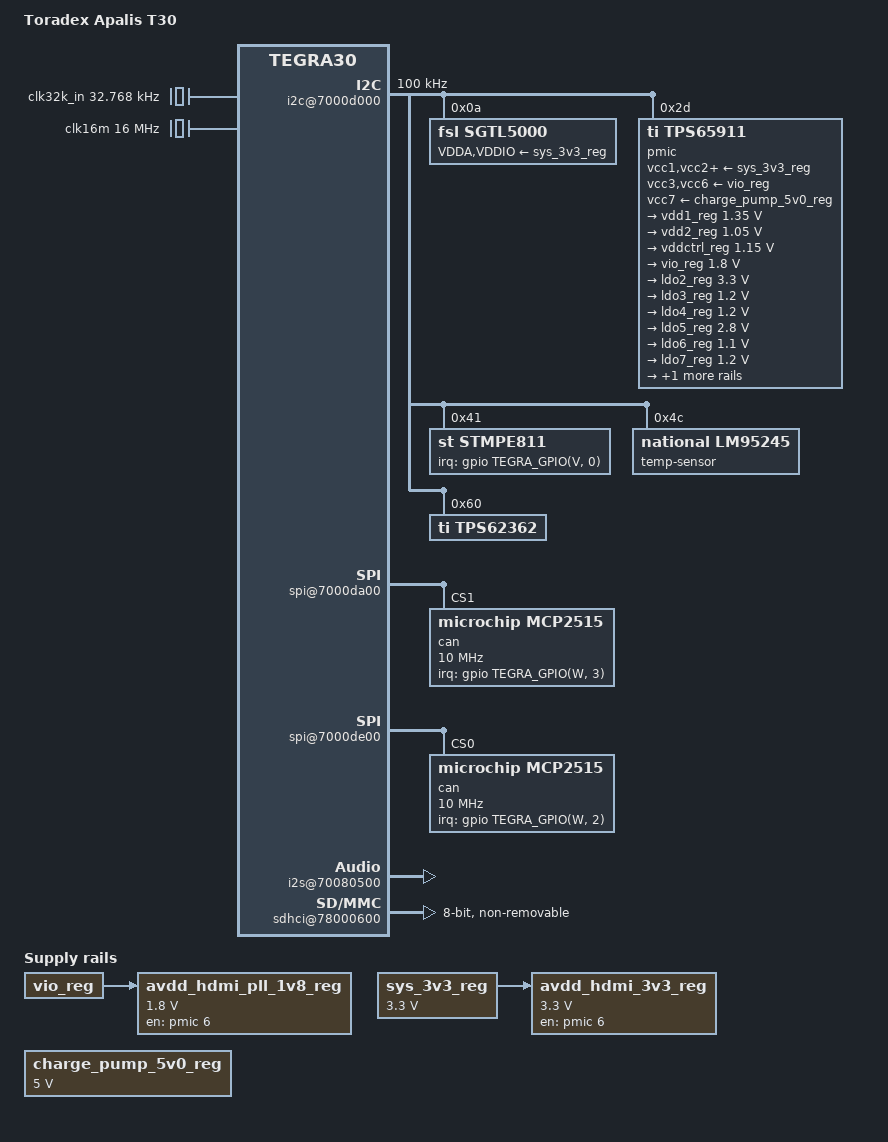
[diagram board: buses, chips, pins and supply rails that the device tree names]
// SPDX-License-Identifier: GPL-2.0
#include "tegra30.dtsi"

/*
 * Toradex Apalis T30 Module Device Tree
 * Compatible for Revisions 1GB: V1.0A, V1.1A; 1GB IT: V1.1A;
 * 2GB: V1.0B, V1.0C, V1.0E, V1.1A
 */
/ {
	model = "Toradex Apalis T30";
	compatible = "toradex,apalis_t30", "nvidia,tegra30";

	pcie@3000 {
		avdd-pexa-supply = <&vdd2_reg>;
		vdd-pexa-supply = <&vdd2_reg>;
		avdd-pexb-supply = <&vdd2_reg>;
		vdd-pexb-supply = <&vdd2_reg>;
		avdd-pex-pll-supply = <&vdd2_reg>;
		avdd-plle-supply = <&ldo6_reg>;
		vddio-pex-ctl-supply = <&sys_3v3_reg>;
		hvdd-pex-supply = <&sys_3v3_reg>;

		pci@1,0 {
			nvidia,num-lanes = <4>;
		};

		pci@2,0 {
			nvidia,num-lanes = <1>;
		};

		pci@3,0 {
			nvidia,num-lanes = <1>;
		};
	};

	host1x@50000000 {
		hdmi@54280000 {
			vdd-supply = <&avdd_hdmi_3v3_reg>;
			pll-supply = <&avdd_hdmi_pll_1v8_reg>;

			nvidia,hpd-gpio =
				<&gpio TEGRA_GPIO(N, 7) GPIO_ACTIVE_HIGH>;
			nvidia,ddc-i2c-bus = <&hdmiddc>;
		};
	};

	pinmux@70000868 {
		pinctrl-names = "default";
		pinctrl-0 = <&state_default>;

		state_default: pinmux {
			/* Analogue Audio (On-module) */
			clk1_out_pw4 {
				nvidia,pins = "clk1_out_pw4";
				nvidia,function = "extperiph1";
				nvidia,pull = <TEGRA_PIN_PULL_NONE>;
				nvidia,tristate = <TEGRA_PIN_DISABLE>;
				nvidia,enable-input = <TEGRA_PIN_DISABLE>;
			};
			dap3_fs_pp0 {
				nvidia,pins =	"dap3_fs_pp0",
						"dap3_sclk_pp3",
						"dap3_din_pp1",
						"dap3_dout_pp2";
				nvidia,function = "i2s2";
				nvidia,pull = <TEGRA_PIN_PULL_NONE>;
				nvidia,tristate = <TEGRA_PIN_DISABLE>;
			};

			/* Apalis BKL1_ON */
			pv2 {
				nvidia,pins = "pv2";
				nvidia,function = "rsvd4";
				nvidia,pull = <TEGRA_PIN_PULL_NONE>;
				nvidia,tristate = <TEGRA_PIN_DISABLE>;
			};

			/* Apalis BKL1_PWM */
			uart3_rts_n_pc0 {
				nvidia,pins = "uart3_rts_n_pc0";
				nvidia,function = "pwm0";
				nvidia,pull = <TEGRA_PIN_PULL_NONE>;
				nvidia,tristate = <TEGRA_PIN_DISABLE>;
			};
			/* BKL1_PWM_EN#, disable TPS65911 PMIC PWM backlight */
			uart3_cts_n_pa1 {
				nvidia,pins = "uart3_cts_n_pa1";
				nvidia,function = "rsvd2";
				nvidia,pull = <TEGRA_PIN_PULL_UP>;
				nvidia,tristate = <TEGRA_PIN_DISABLE>;
			};

			/* Apalis CAN1 on SPI6 */
			spi2_cs0_n_px3 {
				nvidia,pins = "spi2_cs0_n_px3",
					      "spi2_miso_px1",
					      "spi2_mosi_px0",
					      "spi2_sck_px2";
				nvidia,function = "spi6";
				nvidia,pull = <TEGRA_PIN_PULL_NONE>;
				nvidia,tristate = <TEGRA_PIN_DISABLE>;
			};
			/* CAN_INT1 */
			spi2_cs1_n_pw2 {
				nvidia,pins = "spi2_cs1_n_pw2";
				nvidia,function = "spi3";
				nvidia,pull = <TEGRA_PIN_PULL_NONE>;
				nvidia,tristate = <TEGRA_PIN_DISABLE>;
				nvidia,enable-input = <TEGRA_PIN_ENABLE>;
			};

			/* Apalis CAN2 on SPI4 */
			gmi_a16_pj7 {
				nvidia,pins = "gmi_a16_pj7",
					      "gmi_a17_pb0",
					      "gmi_a18_pb1",
					      "gmi_a19_pk7";
				nvidia,function = "spi4";
				nvidia,pull = <TEGRA_PIN_PULL_NONE>;
				nvidia,tristate = <TEGRA_PIN_DISABLE>;
			};
			/* CAN_INT2 */
			spi2_cs2_n_pw3 {
				nvidia,pins = "spi2_cs2_n_pw3";
				nvidia,function = "spi3";
				nvidia,pull = <TEGRA_PIN_PULL_NONE>;
				nvidia,tristate = <TEGRA_PIN_DISABLE>;
				nvidia,enable-input = <TEGRA_PIN_ENABLE>;
			};

			/* Apalis Digital Audio */
			clk1_req_pee2 {
				nvidia,pins = "clk1_req_pee2";
				nvidia,function = "hda";
				nvidia,pull = <TEGRA_PIN_PULL_NONE>;
				nvidia,tristate = <TEGRA_PIN_DISABLE>;
			};
			clk2_out_pw5 {
				nvidia,pins = "clk2_out_pw5";
				nvidia,function = "extperiph2";
				nvidia,pull = <TEGRA_PIN_PULL_NONE>;
				nvidia,tristate = <TEGRA_PIN_DISABLE>;
				nvidia,enable-input = <TEGRA_PIN_DISABLE>;
			};
			dap1_fs_pn0 {
				nvidia,pins = "dap1_fs_pn0",
					      "dap1_din_pn1",
					      "dap1_dout_pn2",
					      "dap1_sclk_pn3";
				nvidia,function = "hda";
				nvidia,pull = <TEGRA_PIN_PULL_NONE>;
				nvidia,tristate = <TEGRA_PIN_DISABLE>;
			};

			/* Apalis I2C3 */
			cam_i2c_scl_pbb1 {
				nvidia,pins = "cam_i2c_scl_pbb1",
					      "cam_i2c_sda_pbb2";
				nvidia,function = "i2c3";
				nvidia,pull = <TEGRA_PIN_PULL_NONE>;
				nvidia,tristate = <TEGRA_PIN_DISABLE>;
				nvidia,enable-input = <TEGRA_PIN_ENABLE>;
				nvidia,lock = <TEGRA_PIN_DISABLE>;
				nvidia,open-drain = <TEGRA_PIN_ENABLE>;
			};

			/* Apalis MMC1 */
			sdmmc3_clk_pa6 {
				nvidia,pins = "sdmmc3_clk_pa6",
					      "sdmmc3_cmd_pa7";
				nvidia,function = "sdmmc3";
				nvidia,pull = <TEGRA_PIN_PULL_NONE>;
				nvidia,tristate = <TEGRA_PIN_DISABLE>;
			};
			sdmmc3_dat0_pb7 {
				nvidia,pins = "sdmmc3_dat0_pb7",
					      "sdmmc3_dat1_pb6",
					      "sdmmc3_dat2_pb5",
					      "sdmmc3_dat3_pb4",
					      "sdmmc3_dat4_pd1",
					      "sdmmc3_dat5_pd0",
					      "sdmmc3_dat6_pd3",
					      "sdmmc3_dat7_pd4";
				nvidia,function = "sdmmc3";
				nvidia,pull = <TEGRA_PIN_PULL_UP>;
				nvidia,tristate = <TEGRA_PIN_DISABLE>;
			};
			/* Apalis MMC1_CD# */
			pv3 {
				nvidia,pins = "pv3";
				nvidia,function = "rsvd2";
				nvidia,pull = <TEGRA_PIN_PULL_NONE>;
				nvidia,tristate = <TEGRA_PIN_DISABLE>;
				nvidia,enable-input = <TEGRA_PIN_ENABLE>;
			};

			/* Apalis PWM1 */
			pu6 {
				nvidia,pins = "pu6";
				nvidia,function = "pwm3";
				nvidia,pull = <TEGRA_PIN_PULL_NONE>;
				nvidia,tristate = <TEGRA_PIN_DISABLE>;
			};

			/* Apalis PWM2 */
			pu5 {
				nvidia,pins = "pu5";
				nvidia,function = "pwm2";
				nvidia,pull = <TEGRA_PIN_PULL_NONE>;
				nvidia,tristate = <TEGRA_PIN_DISABLE>;
			};

			/* Apalis PWM3 */
			pu4 {
				nvidia,pins = "pu4";
				nvidia,function = "pwm1";
				nvidia,pull = <TEGRA_PIN_PULL_NONE>;
				nvidia,tristate = <TEGRA_PIN_DISABLE>;
			};

			/* Apalis PWM4 */
			pu3 {
				nvidia,pins = "pu3";
				nvidia,function = "pwm0";
				nvidia,pull = <TEGRA_PIN_PULL_NONE>;
				nvidia,tristate = <TEGRA_PIN_DISABLE>;
			};

			/* Apalis RESET_MOCI# */
			gmi_rst_n_pi4 {
				nvidia,pins = "gmi_rst_n_pi4";
				nvidia,function = "gmi";
				nvidia,pull = <TEGRA_PIN_PULL_NONE>;
				nvidia,tristate = <TEGRA_PIN_DISABLE>;
			};

			/* Apalis SD1 */
			sdmmc1_clk_pz0 {
				nvidia,pins = "sdmmc1_clk_pz0";
				nvidia,function = "sdmmc1";
				nvidia,pull = <TEGRA_PIN_PULL_NONE>;
				nvidia,tristate = <TEGRA_PIN_DISABLE>;
			};
			sdmmc1_cmd_pz1 {
				nvidia,pins = "sdmmc1_cmd_pz1",
					      "sdmmc1_dat0_py7",
					      "sdmmc1_dat1_py6",
					      "sdmmc1_dat2_py5",
					      "sdmmc1_dat3_py4";
				nvidia,function = "sdmmc1";
				nvidia,pull = <TEGRA_PIN_PULL_UP>;
				nvidia,tristate = <TEGRA_PIN_DISABLE>;
			};
			/* Apalis SD1_CD# */
			clk2_req_pcc5 {
				nvidia,pins = "clk2_req_pcc5";
				nvidia,function = "rsvd2";
				nvidia,pull = <TEGRA_PIN_PULL_NONE>;
				nvidia,tristate = <TEGRA_PIN_DISABLE>;
				nvidia,enable-input = <TEGRA_PIN_ENABLE>;
			};

			/* Apalis SPI1 */
			spi1_sck_px5 {
				nvidia,pins = "spi1_sck_px5",
					      "spi1_mosi_px4",
					      "spi1_miso_px7",
					      "spi1_cs0_n_px6";
				nvidia,function = "spi1";
				nvidia,pull = <TEGRA_PIN_PULL_NONE>;
				nvidia,tristate = <TEGRA_PIN_DISABLE>;
			};

			/* Apalis SPI2 */
			lcd_sck_pz4 {
				nvidia,pins = "lcd_sck_pz4",
					      "lcd_sdout_pn5",
					      "lcd_sdin_pz2",
					      "lcd_cs0_n_pn4";
				nvidia,function = "spi5";
				nvidia,pull = <TEGRA_PIN_PULL_NONE>;
				nvidia,tristate = <TEGRA_PIN_DISABLE>;
			};

			/* Apalis UART1 */
			ulpi_data0 {
				nvidia,pins = "ulpi_data0_po1",
					      "ulpi_data1_po2",
					      "ulpi_data2_po3",
					      "ulpi_data3_po4",
					      "ulpi_data4_po5",
					      "ulpi_data5_po6",
					      "ulpi_data6_po7",
					      "ulpi_data7_po0";
				nvidia,function = "uarta";
				nvidia,pull = <TEGRA_PIN_PULL_NONE>;
				nvidia,tristate = <TEGRA_PIN_DISABLE>;
			};

			/* Apalis UART2 */
			ulpi_clk_py0 {
				nvidia,pins = "ulpi_clk_py0",
					      "ulpi_dir_py1",
					      "ulpi_nxt_py2",
					      "ulpi_stp_py3";
				nvidia,function = "uartd";
				nvidia,pull = <TEGRA_PIN_PULL_NONE>;
				nvidia,tristate = <TEGRA_PIN_DISABLE>;
			};

			/* Apalis UART3 */
			uart2_rxd_pc3 {
				nvidia,pins = "uart2_rxd_pc3",
					      "uart2_txd_pc2";
				nvidia,function = "uartb";
				nvidia,pull = <TEGRA_PIN_PULL_NONE>;
				nvidia,tristate = <TEGRA_PIN_DISABLE>;
			};

			/* Apalis UART4 */
			uart3_rxd_pw7 {
				nvidia,pins = "uart3_rxd_pw7",
					      "uart3_txd_pw6";
				nvidia,function = "uartc";
				nvidia,pull = <TEGRA_PIN_PULL_NONE>;
				nvidia,tristate = <TEGRA_PIN_DISABLE>;
			};

			/* Apalis USBO1_EN */
			gen2_i2c_scl_pt5 {
				nvidia,pins = "gen2_i2c_scl_pt5";
				nvidia,function = "rsvd4";
				nvidia,open-drain = <TEGRA_PIN_DISABLE>;
				nvidia,pull = <TEGRA_PIN_PULL_NONE>;
				nvidia,tristate = <TEGRA_PIN_DISABLE>;
			};

			/* Apalis USBO1_OC# */
			gen2_i2c_sda_pt6 {
				nvidia,pins = "gen2_i2c_sda_pt6";
				nvidia,function = "rsvd4";
				nvidia,open-drain = <TEGRA_PIN_DISABLE>;
				nvidia,pull = <TEGRA_PIN_PULL_NONE>;
				nvidia,tristate = <TEGRA_PIN_DISABLE>;
				nvidia,enable-input = <TEGRA_PIN_ENABLE>;
			};

			/* Apalis WAKE1_MICO */
			pv1 {
				nvidia,pins = "pv1";
				nvidia,function = "rsvd1";
				nvidia,pull = <TEGRA_PIN_PULL_NONE>;
				nvidia,tristate = <TEGRA_PIN_DISABLE>;
				nvidia,enable-input = <TEGRA_PIN_ENABLE>;
			};

			/* eMMC (On-module) */
			sdmmc4_clk_pcc4 {
				nvidia,pins = "sdmmc4_clk_pcc4",
					      "sdmmc4_rst_n_pcc3";
				nvidia,function = "sdmmc4";
				nvidia,pull = <TEGRA_PIN_PULL_NONE>;
				nvidia,tristate = <TEGRA_PIN_DISABLE>;
			};
			sdmmc4_dat0_paa0 {
				nvidia,pins = "sdmmc4_dat0_paa0",
					      "sdmmc4_dat1_paa1",
					      "sdmmc4_dat2_paa2",
					      "sdmmc4_dat3_paa3",
					      "sdmmc4_dat4_paa4",
					      "sdmmc4_dat5_paa5",
					      "sdmmc4_dat6_paa6",
					      "sdmmc4_dat7_paa7";
				nvidia,function = "sdmmc4";
				nvidia,pull = <TEGRA_PIN_PULL_UP>;
				nvidia,tristate = <TEGRA_PIN_DISABLE>;
			};

			/* LVDS Transceiver Configuration */
			pbb0 {
				nvidia,pins = "pbb0",
					      "pbb7",
					      "pcc1",
					      "pcc2";
				nvidia,function = "rsvd2";
				nvidia,pull = <TEGRA_PIN_PULL_NONE>;
				nvidia,tristate = <TEGRA_PIN_DISABLE>;
				nvidia,enable-input = <TEGRA_PIN_DISABLE>;
				nvidia,lock = <TEGRA_PIN_DISABLE>;
			};
			pbb3 {
				nvidia,pins = "pbb3",
					      "pbb4",
					      "pbb5",
					      "pbb6";
				nvidia,function = "displayb";
				nvidia,pull = <TEGRA_PIN_PULL_NONE>;
				nvidia,tristate = <TEGRA_PIN_DISABLE>;
				nvidia,enable-input = <TEGRA_PIN_DISABLE>;
				nvidia,lock = <TEGRA_PIN_DISABLE>;
			};

			/* Power I2C (On-module) */
			pwr_i2c_scl_pz6 {
				nvidia,pins = "pwr_i2c_scl_pz6",
					      "pwr_i2c_sda_pz7";
				nvidia,function = "i2cpwr";
				nvidia,pull = <TEGRA_PIN_PULL_NONE>;
				nvidia,tristate = <TEGRA_PIN_DISABLE>;
				nvidia,enable-input = <TEGRA_PIN_ENABLE>;
				nvidia,lock = <TEGRA_PIN_DISABLE>;
				nvidia,open-drain = <TEGRA_PIN_ENABLE>;
			};

			/*
			 * THERMD_ALERT#, unlatched I2C address pin of LM95245
			 * temperature sensor therefore requires disabling for
			 * now
			 */
			lcd_dc1_pd2 {
				nvidia,pins = "lcd_dc1_pd2";
				nvidia,function = "rsvd3";
				nvidia,pull = <TEGRA_PIN_PULL_NONE>;
				nvidia,tristate = <TEGRA_PIN_DISABLE>;
				nvidia,enable-input = <TEGRA_PIN_ENABLE>;
			};

			/* TOUCH_PEN_INT# */
			pv0 {
				nvidia,pins = "pv0";
				nvidia,function = "rsvd1";
				nvidia,pull = <TEGRA_PIN_PULL_NONE>;
				nvidia,tristate = <TEGRA_PIN_DISABLE>;
				nvidia,enable-input = <TEGRA_PIN_ENABLE>;
			};
		};
	};

	hdmiddc: i2c@7000c700 {
		clock-frequency = <10000>;
	};

	/*
	 * PWR_I2C: power I2C to audio codec, PMIC, temperature sensor and
	 * touch screen controller
	 */
	i2c@7000d000 {
		status = "okay";
		clock-frequency = <100000>;

		/* SGTL5000 audio codec */
		sgtl5000: codec@a {
			compatible = "fsl,sgtl5000";
			reg = <0x0a>;
			VDDA-supply = <&sys_3v3_reg>;
			VDDIO-supply = <&sys_3v3_reg>;
			clocks = <&tegra_car TEGRA30_CLK_EXTERN1>;
		};

		pmic: tps65911@2d {
			compatible = "ti,tps65911";
			reg = <0x2d>;

			interrupts = <GIC_SPI 86 IRQ_TYPE_LEVEL_HIGH>;
			#interrupt-cells = <2>;
			interrupt-controller;

			ti,system-power-controller;

			#gpio-cells = <2>;
			gpio-controller;

			vcc1-supply = <&sys_3v3_reg>;
			vcc2-supply = <&sys_3v3_reg>;
			vcc3-supply = <&vio_reg>;
			vcc4-supply = <&sys_3v3_reg>;
			vcc5-supply = <&sys_3v3_reg>;
			vcc6-supply = <&vio_reg>;
			vcc7-supply = <&charge_pump_5v0_reg>;
			vccio-supply = <&sys_3v3_reg>;

			regulators {
				/* SW1: +V1.35_VDDIO_DDR */
				vdd1_reg: vdd1 {
					regulator-name = "vddio_ddr_1v35";
					regulator-min-microvolt = <1350000>;
					regulator-max-microvolt = <1350000>;
					regulator-always-on;
				};

				/* SW2: +V1.05 */
				vdd2_reg: vdd2 {
					regulator-name =
						"vdd_pexa,vdd_pexb,vdd_sata";
					regulator-min-microvolt = <1050000>;
					regulator-max-microvolt = <1050000>;
				};

				/* SW CTRL: +V1.0_VDD_CPU */
				vddctrl_reg: vddctrl {
					regulator-name = "vdd_cpu,vdd_sys";
					regulator-min-microvolt = <1150000>;
					regulator-max-microvolt = <1150000>;
					regulator-always-on;
				};

				/* SWIO: +V1.8 */
				vio_reg: vio {
					regulator-name = "vdd_1v8_gen";
					regulator-min-microvolt = <1800000>;
					regulator-max-microvolt = <1800000>;
					regulator-always-on;
				};

				/* LDO1: unused */

				/*
				 * EN_+V3.3 switching via FET:
				 * +V3.3_AUDIO_AVDD_S, +V3.3 and +V1.8_VDD_LAN
				 * see also v3_3 fixed supply
				 */
				ldo2_reg: ldo2 {
					regulator-name = "en_3v3";
					regulator-min-microvolt = <3300000>;
					regulator-max-microvolt = <3300000>;
					regulator-always-on;
				};

				/* +V1.2_CSI */
				ldo3_reg: ldo3 {
					regulator-name =
						"avdd_dsi_csi,pwrdet_mipi";
					regulator-min-microvolt = <1200000>;
					regulator-max-microvolt = <1200000>;
				};

				/* +V1.2_VDD_RTC */
				ldo4_reg: ldo4 {
					regulator-name = "vdd_rtc";
					regulator-min-microvolt = <1200000>;
					regulator-max-microvolt = <1200000>;
					regulator-always-on;
				};

				/*
				 * +V2.8_AVDD_VDAC:
				 * only required for analog RGB
				 */
				ldo5_reg: ldo5 {
					regulator-name = "avdd_vdac";
					regulator-min-microvolt = <2800000>;
					regulator-max-microvolt = <2800000>;
					regulator-always-on;
				};

				/*
				 * +V1.05_AVDD_PLLE: avdd_plle should be 1.05V
				 * but LDO6 can't set voltage in 50mV
				 * granularity
				 */
				ldo6_reg: ldo6 {
					regulator-name = "avdd_plle";
					regulator-min-microvolt = <1100000>;
					regulator-max-microvolt = <1100000>;
				};

				/* +V1.2_AVDD_PLL */
				ldo7_reg: ldo7 {
					regulator-name = "avdd_pll";
					regulator-min-microvolt = <1200000>;
					regulator-max-microvolt = <1200000>;
					regulator-always-on;
				};

				/* +V1.0_VDD_DDR_HS */
				ldo8_reg: ldo8 {
					regulator-name = "vdd_ddr_hs";
					regulator-min-microvolt = <1000000>;
					regulator-max-microvolt = <1000000>;
					regulator-always-on;
				};
			};
		};

		/* STMPE811 touch screen controller */
		stmpe811@41 {
			compatible = "st,stmpe811";
			#address-cells = <1>;
			#size-cells = <0>;
			reg = <0x41>;
			interrupts = <TEGRA_GPIO(V, 0) IRQ_TYPE_LEVEL_LOW>;
			interrupt-parent = <&gpio>;
			interrupt-controller;
			id = <0>;
			blocks = <0x5>;
			irq-trigger = <0x1>;

			stmpe_touchscreen@0 {
				compatible = "st,stmpe-ts";
				/* 3.25 MHz ADC clock speed */
				st,adc-freq = <1>;
				/* 8 sample average control */
				st,ave-ctrl = <3>;
				/* 7 length fractional part in z */
				st,fraction-z = <7>;
				/*
				 * 50 mA typical 80 mA max touchscreen drivers
				 * current limit value
				 */
				st,i-drive = <1>;
				/* 12-bit ADC */
				st,mod-12b = <1>;
				/* internal ADC reference */
				st,ref-sel = <0>;
				/* ADC converstion time: 80 clocks */
				st,sample-time = <4>;
				/* 1 ms panel driver settling time */
				st,settling = <3>;
				/* 5 ms touch detect interrupt delay */
				st,touch-det-delay = <5>;
			};
		};

		/*
		 * LM95245 temperature sensor
		 * Note: OVERT_N directly connected to PMIC PWRDN
		 */
		temp-sensor@4c {
			compatible = "national,lm95245";
			reg = <0x4c>;
		};

		/* SW: +V1.2_VDD_CORE */
		tps62362@60 {
			compatible = "ti,tps62362";
			reg = <0x60>;

			regulator-name = "tps62362-vout";
			regulator-min-microvolt = <900000>;
			regulator-max-microvolt = <1400000>;
			regulator-boot-on;
			regulator-always-on;
			ti,vsel0-state-low;
			/* VSEL1: EN_CORE_DVFS_N low for DVFS */
			ti,vsel1-state-low;
		};
	};

	/* SPI4: CAN2 */
	spi@7000da00 {
		status = "okay";
		spi-max-frequency = <10000000>;

		can@1 {
			compatible = "microchip,mcp2515";
			reg = <1>;
			clocks = <&clk16m>;
			interrupt-parent = <&gpio>;
			interrupts = <TEGRA_GPIO(W, 3) IRQ_TYPE_EDGE_RISING>;
			spi-max-frequency = <10000000>;
		};
	};

	/* SPI6: CAN1 */
	spi@7000de00 {
		status = "okay";
		spi-max-frequency = <10000000>;

		can@0 {
			compatible = "microchip,mcp2515";
			reg = <0>;
			clocks = <&clk16m>;
			interrupt-parent = <&gpio>;
			interrupts = <TEGRA_GPIO(W, 2) IRQ_TYPE_EDGE_RISING>;
			spi-max-frequency = <10000000>;
		};
	};

	pmc@7000e400 {
		nvidia,invert-interrupt;
		nvidia,suspend-mode = <1>;
		nvidia,cpu-pwr-good-time = <5000>;
		nvidia,cpu-pwr-off-time = <5000>;
		nvidia,core-pwr-good-time = <3845 3845>;
		nvidia,core-pwr-off-time = <0>;
		nvidia,core-power-req-active-high;
		nvidia,sys-clock-req-active-high;
	};

	ahub@70080000 {
		i2s@70080500 {
			status = "okay";
		};
	};

	/* eMMC */
	sdhci@78000600 {
		status = "okay";
		bus-width = <8>;
		non-removable;
	};

	clocks {
		compatible = "simple-bus";
		#address-cells = <1>;
		#size-cells = <0>;

		clk32k_in: clk@0 {
			compatible = "fixed-clock";
			reg = <0>;
			#clock-cells = <0>;
			clock-frequency = <32768>;
		};

		clk16m: clk@1 {
			compatible = "fixed-clock";
			reg = <1>;
			#clock-cells = <0>;
			clock-frequency = <16000000>;
			clock-output-names = "clk16m";
		};
	};

	regulators {
		compatible = "simple-bus";
		#address-cells = <1>;
		#size-cells = <0>;

		avdd_hdmi_pll_1v8_reg: regulator@100 {
			compatible = "regulator-fixed";
			reg = <100>;
			regulator-name = "+V1.8_AVDD_HDMI_PLL";
			regulator-min-microvolt = <1800000>;
			regulator-max-microvolt = <1800000>;
			enable-active-high;
			gpio = <&pmic 6 GPIO_ACTIVE_HIGH>;
			vin-supply = <&vio_reg>;
		};

		sys_3v3_reg: regulator@101 {
			compatible = "regulator-fixed";
			reg = <101>;
			regulator-name = "3v3";
			regulator-min-microvolt = <3300000>;
			regulator-max-microvolt = <3300000>;
			regulator-always-on;
		};

		avdd_hdmi_3v3_reg: regulator@102 {
			compatible = "regulator-fixed";
			reg = <102>;
			regulator-name = "+V3.3_AVDD_HDMI";
			regulator-min-microvolt = <3300000>;
			regulator-max-microvolt = <3300000>;
			enable-active-high;
			gpio = <&pmic 6 GPIO_ACTIVE_HIGH>;
			vin-supply = <&sys_3v3_reg>;
		};

		charge_pump_5v0_reg: regulator@103 {
			compatible = "regulator-fixed";
			reg = <103>;
			regulator-name = "5v0";
			regulator-min-microvolt = <5000000>;
			regulator-max-microvolt = <5000000>;
			regulator-always-on;
		};
	};

	sound {
		compatible = "toradex,tegra-audio-sgtl5000-apalis_t30",
			     "nvidia,tegra-audio-sgtl5000";
		nvidia,model = "Toradex Apalis T30";
		nvidia,audio-routing =
			"Headphone Jack", "HP_OUT",
			"LINE_IN", "Line In Jack",
			"MIC_IN", "Mic Jack";
		nvidia,i2s-controller = <&tegra_i2s2>;
		nvidia,audio-codec = <&sgtl5000>;
		clocks = <&tegra_car TEGRA30_CLK_PLL_A>,
			 <&tegra_car TEGRA30_CLK_PLL_A_OUT0>,
			 <&tegra_car TEGRA30_CLK_EXTERN1>;
		clock-names = "pll_a", "pll_a_out0", "mclk";
	};
};
